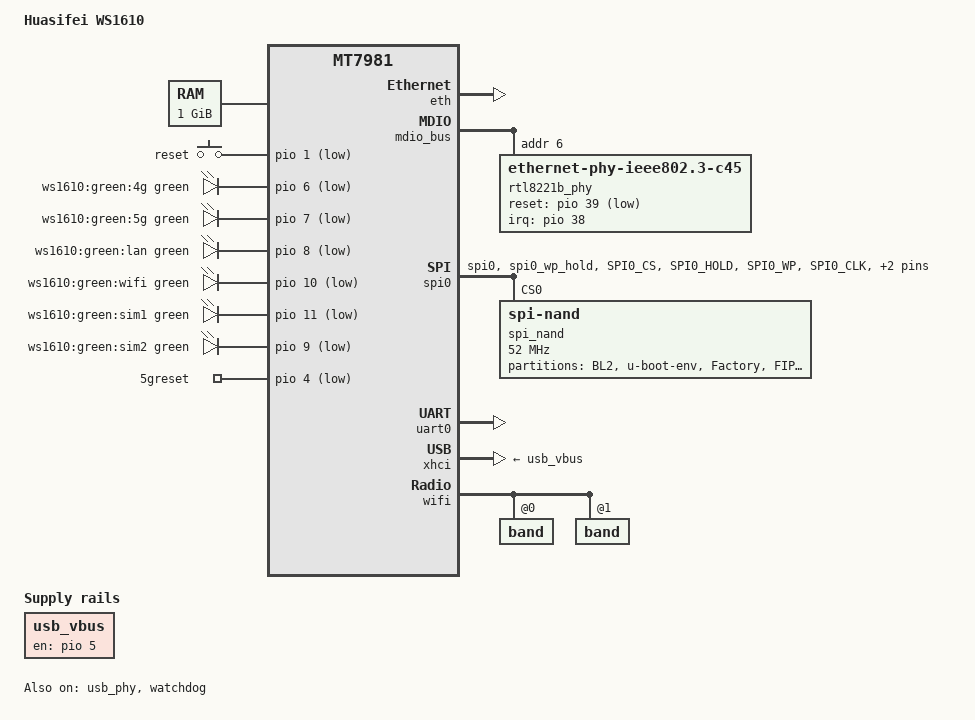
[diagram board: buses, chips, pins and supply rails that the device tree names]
// SPDX-License-Identifier: GPL-2.0-or-later OR MIT

/dts-v1/;

#include "mt7981b.dtsi"

/ {
	model = "Huasifei WS1610";
	compatible = "huasifei,ws1610", "mediatek,mt7981";

	aliases {
		led-boot = &led_sim1;
		led-failsafe = &led_sim2;
		led-running = &led_sim1;
		led-upgrade = &led_sim1;
		label-mac-device = &gmac0;
		serial0 = &uart0;
	};

	chosen {
		stdout-path = "serial0:115200n8";
	};

	memory@40000000 {
		device_type = "memory";
		reg = <0 0x40000000 0 0x40000000>;
	};

	/* This powers the M.2 and PCIe slots.*/
	usb_vbus: regulator-usb-vbus {
		compatible = "regulator-fixed";
		regulator-name = "usb_vbus";
		gpios = <&pio 5 GPIO_ACTIVE_HIGH>;
		enable-active-high;
		regulator-always-on;
	};

	gpio-keys {
		compatible = "gpio-keys";

		reset {
			label = "reset";
			linux,code = <KEY_RESTART>;
			gpios = <&pio 1 GPIO_ACTIVE_LOW>;
			debounce-interval = <60>;
		};
	};

	leds {
		compatible = "gpio-leds";

		led_4g: led-4g {
			color = <LED_COLOR_ID_GREEN>;
			label = "ws1610:green:4g";
			gpios = <&pio 6 GPIO_ACTIVE_LOW>;
		};

		led_5g: led-5g {
			color = <LED_COLOR_ID_GREEN>;
			label = "ws1610:green:5g";
			gpios = <&pio 7 GPIO_ACTIVE_LOW>;
		};

		led_lan: led-lan {
			function = LED_FUNCTION_LAN;
			color = <LED_COLOR_ID_GREEN>;
			label = "ws1610:green:lan";
			gpios = <&pio 8 GPIO_ACTIVE_LOW>;
		};

		led_wifi: led-wifi {
			function = LED_FUNCTION_WLAN;
			color = <LED_COLOR_ID_GREEN>;
			label = "ws1610:green:wifi";
			gpios = <&pio 10 GPIO_ACTIVE_LOW>;
		};

		led_sim1: led-sim1 {
			color = <LED_COLOR_ID_GREEN>;
			label = "ws1610:green:sim1";
			gpios = <&pio 11 GPIO_ACTIVE_LOW>;
		};

		led_sim2: led-sim2 {
			color = <LED_COLOR_ID_GREEN>;
			label = "ws1610:green:sim2";
			gpios = <&pio 9 GPIO_ACTIVE_LOW>;
		};
	};

	/* Pulling this high shuts off M.2 modem. */
	gpio-export {
		compatible = "gpio-export";

		gpio_5greset {
			gpio-export,name = "5greset";
			gpio-export,output = <0>;
			gpios = <&pio 4 GPIO_ACTIVE_LOW>;
		};
	};

};

&eth {
	status = "okay";

	/* Port labeled 2.5G LAN/WAN  */
	gmac0: mac@0 {
		label = "wan";
		compatible = "mediatek,eth-mac";
		reg = <0>;
		phy-mode = "2500base-x";
		phy-handle = <&rtl8221b_phy>;
		nvmem-cell-names = "mac-address";
		nvmem-cells = <&macaddr_factory_4 0>;

	};

    /* Port labeled LAN  */
	gmac1: mac@1 {
		label = "lan";
		compatible = "mediatek,eth-mac";
		reg = <1>;
		phy-mode = "gmii";
		phy-handle = <&int_gbe_phy>;
		nvmem-cell-names = "mac-address";
		nvmem-cells = <&macaddr_factory_4 1>;
	};
};

&mdio_bus {
	rtl8221b_phy: ethernet-phy@6 {
		compatible = "ethernet-phy-ieee802.3-c45";
		reg = <6>;
		reset-assert-us = <100000>;
		reset-deassert-us = <100000>;
		reset-gpios = <&pio 39 GPIO_ACTIVE_LOW>;
		interrupts = <38 IRQ_TYPE_LEVEL_LOW>;
		interrupt-parent = <&pio>;
		realtek,aldps-enable;
	};
};

/* PCIe also disabled in vendor dts, if enabled xhci-mtk fails with clocks are not stable (0x3d0f) and USB won't work */
&pcie {
	status = "disabled";
};


&pio {
	spi0_flash_pins: spi0-pins {
		mux {
			function = "spi";
			groups = "spi0", "spi0_wp_hold";
		};

		conf-pu {
			pins = "SPI0_CS", "SPI0_HOLD", "SPI0_WP";
			drive-strength = <MTK_DRIVE_8mA>;
			bias-pull-up = <MTK_PUPD_SET_R1R0_11>;
		};

		conf-pd {
			pins = "SPI0_CLK", "SPI0_MOSI", "SPI0_MISO";
			drive-strength = <MTK_DRIVE_8mA>;
			bias-pull-down = <MTK_PUPD_SET_R1R0_11>;
		};
	};
};

&spi0 {
	pinctrl-names = "default";
	pinctrl-0 = <&spi0_flash_pins>;
	status = "okay";

	spi_nand: flash@0 {
		compatible = "spi-nand";
		reg = <0>;
		spi-max-frequency = <52000000>;
		spi-tx-bus-width = <4>;
		spi-rx-bus-width = <4>;

		mediatek,nmbm;
		mediatek,bmt-max-ratio = <1>;
		mediatek,bmt-max-reserved-blocks = <64>;

		partitions {
			compatible = "fixed-partitions";
			#address-cells = <1>;
			#size-cells = <1>;

			partition@0 {
				label = "BL2";
				reg = <0x0000000 0x0100000>;
				read-only;
			};

			partition@100000 {
				label = "u-boot-env";
				reg = <0x0100000 0x0080000>;
			};

			factory: partition@180000 {
				label = "Factory";
				reg = <0x0180000 0x0200000>;
				read-only;

				nvmem-layout {
					compatible = "fixed-layout";
					#address-cells = <1>;
					#size-cells = <1>;

					eeprom_factory_0: eeprom@0 {
						reg = <0x0 0x1000>;
					};

					macaddr_factory_4: macaddr@4 {
						compatible = "mac-base";
						reg = <0x4 0x6>;
						#nvmem-cell-cells = <1>;
					};
				};
			};

			partition@380000 {
				label = "FIP";
				reg = <0x0380000 0x0200000>;
				read-only;
			};

			partition@580000 {
				label = "woem";
				reg = <0x0580000 0x00a0000>;
				read-only;
			};

			partition@620000 {
				label = "ubi";
				reg = <0x0620000 0x07000000>;
			};

			partition@7620000 {
				label = "ubi2";
				reg = <0x07620000 0x07000000>;
			};

			partition@e620000 {
				label = "wtinfo";
				reg = <0x0e620000 0x00060000>;
				read-only;
			};

			partition@e680000 {
				label = "nvram";
				reg = <0x0e680000 0x00060000>;
				read-only;
			};
		};
	};
};

&uart0 {
	status = "okay";
};

&usb_phy {
	status = "okay";
};

&xhci {
	vbus-supply = <&usb_vbus>;
	status = "okay";
};

&watchdog {
	status = "okay";
};

&wifi {
	#address-cells = <1>;
	#size-cells = <0>;
	nvmem-cells = <&eeprom_factory_0>;
	nvmem-cell-names = "eeprom";
	status = "okay";

	band@0 {
		reg = <0>;
		nvmem-cells = <&macaddr_factory_4 2>;
		nvmem-cell-names = "mac-address";
	};

	band@1 {
		reg = <1>;
		nvmem-cells = <&macaddr_factory_4 3>;
		nvmem-cell-names = "mac-address";
	};
};
